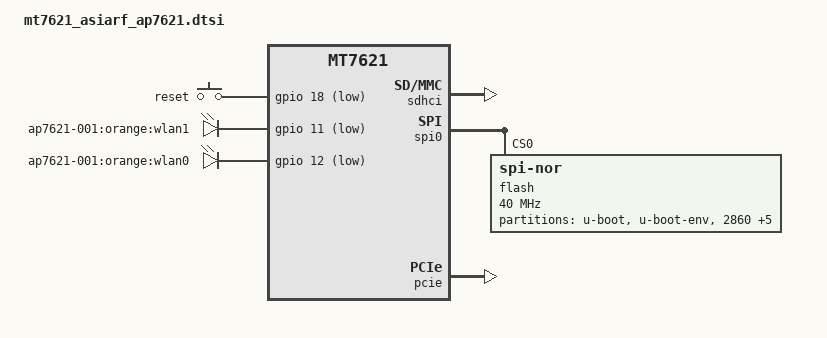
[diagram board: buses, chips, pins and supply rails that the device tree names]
// SPDX-License-Identifier: GPL-2.0-or-later OR MIT

#include "mt7621.dtsi"

#include <dt-bindings/gpio/gpio.h>
#include <dt-bindings/input/input.h>

/ {
	chosen {
		bootargs = "console=ttyS0,57600";
	};

	keys {
		compatible = "gpio-keys";

		reset {
			label = "reset";
			gpios = <&gpio 18 GPIO_ACTIVE_LOW>;
			linux,code = <KEY_RESTART>;
		};
	};

	leds {
		compatible = "gpio-leds";

		wlan1 {
			label = "ap7621-001:orange:wlan1";
			gpios = <&gpio 11 GPIO_ACTIVE_LOW>;
		};

		wlan0 {
			label = "ap7621-001:orange:wlan0";
			gpios = <&gpio 12 GPIO_ACTIVE_LOW>;
		};
	};
};

&sdhci {
	status = "okay";
};

&spi0 {
	status = "okay";

	flash@0 {
		compatible = "jedec,spi-nor";
		reg = <0>;
		spi-max-frequency = <40000000>;

		partitions {
			compatible = "fixed-partitions";
			#address-cells = <1>;
			#size-cells = <1>;

			partition@0 {
				label = "u-boot";
				reg = <0x0 0x30000>;
				read-only;
			};

			partition@30000 {
				label = "u-boot-env";
				reg = <0x30000 0x2000>;
			};

			partition@32000 {
				label = "2860";
				reg = <0x32000 0x4000>;
			};

			partition@36000 {
				label = "rtdev";
				reg = <0x36000 0x2000>;
			};

			partition@38000 {
				label = "Reserve";
				reg = <0x38000 0x8000>;
			};

			factory: partition@40000 {
				label = "factory";
				reg = <0x40000 0x10000>;
				read-only;
			};

			partition@50000 {
				label = "firmware";
				reg = <0x50000 0xfa0000>;
				compatible = "denx,uimage";
			};

			partition@ff0000 {
				label = "nvram";
				reg = <0xff0000 0x10000>;
				read-only;
			};
		};
	};
};

&pcie {
	status = "okay";
};

&gmac0 {
	mtd-mac-address = <&factory 0xe000>;
};

&state_default {
	gpio {
		groups = "wdt", "jtag";
		function = "gpio";
	};
};
